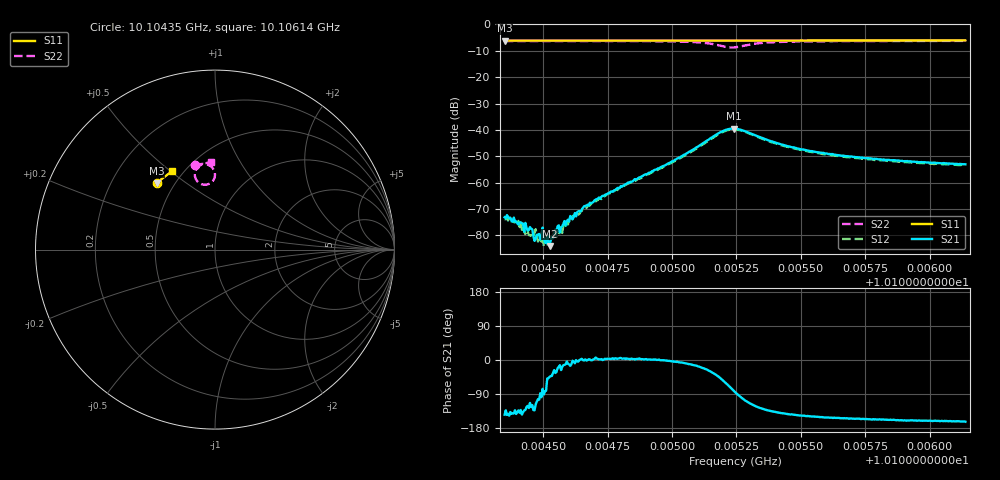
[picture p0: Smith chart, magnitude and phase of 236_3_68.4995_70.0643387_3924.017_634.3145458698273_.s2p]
#  HZ  S  RI  R  50.00
! Rohde & Schwarz Vector Network Analyzer
! Rohde-Schwarz,ZNB20-2Port,1311601062101988,3.16
! Created: UTC 3/20/2024, 5:14:16 PM
! freq[Hz]  re:S11  im:S11  re:S21  im:S21  re:S12  im:S12  re:S22  im:S22
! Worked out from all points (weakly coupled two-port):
!   401 points, 10.10435 GHz to 10.10614 GHz, reference 50 ohm
!   highest |S21| = -39.51 dB at 10.10524 GHz (marker M1); lowest = -84.0 dB at 10.10452 GHz (marker M2)
!   lowest |S11| = -6.2 dB at 10.10435 GHz (marker M3), VSWR 2.93, Z = 20.1 + j19.6 ohm
!   |S11| at or under -10 dB: nowhere
!   |S22| runs from -8.8 to -6.3 dB; largest |S21 - S12| = 0.0012
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1.010435e10  -0.324 0.3699  -0.00018 -0.000129  -0.000146 -0.000141  -0.1139 0.4704
1.0104404e10  -0.3216 0.3721  -0.00011 -0.000118  -0.000118 -0.000147  -0.1099 0.4715
1.0104426e10  -0.3207 0.373  -8.04e-05 -8.56e-05  -6.79e-05 -0.0001  -0.1083 0.4718
1.0104453e10  -0.3194 0.3743  -7.56e-05 -0.000112  -6.4e-05 -7.98e-05  -0.106 0.4724
1.0104471e10  -0.3186 0.375  -4.03e-05 -7.89e-05  5.08e-06 -0.000131  -0.1046 0.4726
1.0104489e10  -0.3178 0.3757  3.18e-06 -8.31e-05  2.05e-05 -9.47e-05  -0.1033 0.4729
1.0104524e10  -0.3162 0.3773  4.51e-05 -4.46e-05  5.33e-05 -7.81e-05  -0.1004 0.4736
1.0104542e10  -0.3154 0.378  8.34e-05 -4.18e-05  0.000109 -5.33e-05  -0.0989 0.4738
1.0104565e10  -0.3144 0.3789  0.000111 -2.7e-05  0.000121 -1.96e-05  -0.097 0.4743
1.0104609e10  -0.3123 0.3807  0.000217 -4.23e-05  0.000204 -1.51e-05  -0.0933 0.4749
1.010465e10  -0.3106 0.3822  0.000311 1.73e-05  0.000291 1.91e-05  -0.0896 0.4756
1.0104752e10  -0.306 0.3864  0.000626 3.4e-05  0.000617 7.66e-05  -0.0795 0.477
1.0104949e10  -0.2964 0.3942  0.00188 4.22e-05  0.00181 0.000154  -0.0533 0.4766
1.0105101e10  -0.2891 0.3999  0.00464 -0.00141  0.00456 -0.000894  -0.0154 0.457
1.0105186e10  -0.2848 0.4027  0.00607 -0.00656  0.00647 -0.00564  -0.00376 0.3969
1.010524e10  -0.2825 0.4042  0.00154 -0.0105  0.00257 -0.00995  -0.0596 0.3613
1.0105244e10  -0.2822 0.4044  0.000991 -0.0105  0.00204 -0.01  -0.0655 0.3619
1.010532e10  -0.2791 0.4072  -0.00408 -0.00688  -0.00334 -0.00703  -0.1123 0.415
1.0105432e10  -0.2736 0.4117  -0.00402 -0.00328  -0.00361 -0.00346  -0.0968 0.4573
1.0105544e10  -0.2682 0.4157  -0.0034 -0.00202  -0.00308 -0.00222  -0.0794 0.4708
1.0105844e10  -0.2531 0.4259  -0.0025 -0.00101  -0.00229 -0.00118  -0.0483 0.482
1.0106139e10  -0.2381 0.4354  -0.00213 -0.000652  -0.00194 -0.00084  -0.0249 0.486
